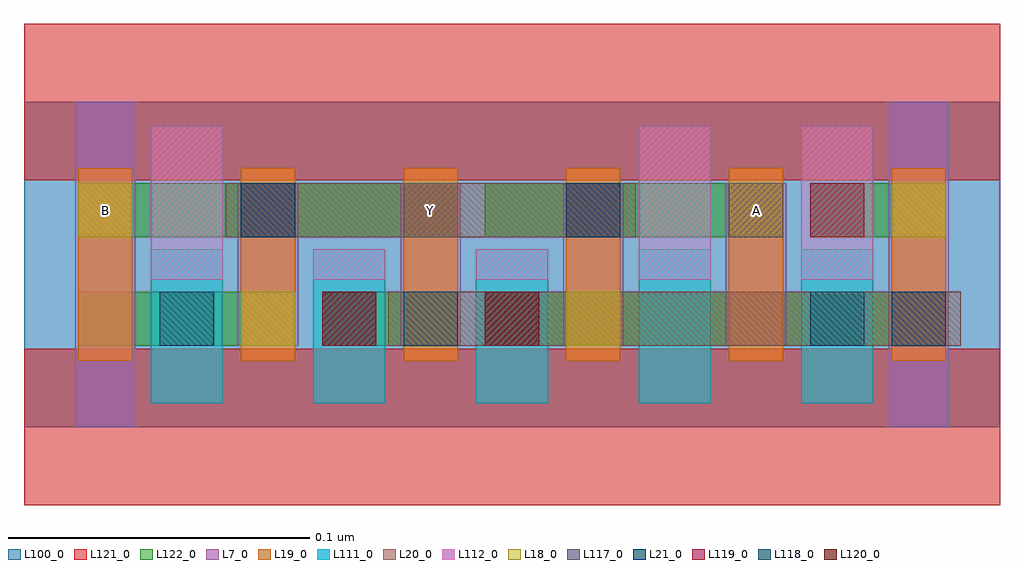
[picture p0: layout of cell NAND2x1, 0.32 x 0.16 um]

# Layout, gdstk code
import gdstk
lib = gdstk.Library(unit=1e-6, precision=2.5e-10)
def R(c, l, rs):  # rectangles x0, y0, x1, y1
    for r in rs: c.add(gdstk.rectangle(r[:2], r[2:], *l))
def A(c, l, x, y, w, h, nx, ny, dx, dy):  # array of equal rectangles
    R(c, l, [(x+i*dx, y+j*dy, x+i*dx+w, y+j*dy+h) for i in range(nx) for j in range(ny)])
L7_0 = (7, 0)
L18_0 = (18, 0)
L19_0 = (19, 0)
L20_0 = (20, 0)
L21_0 = (21, 0)
L100_0 = (100, 0)
L111_0 = (111, 0)
L112_0 = (112, 0)
L117_0 = (117, 0)
L118_0 = (118, 0)
L119_0 = (119, 0)
L120_0 = (120, 0)
L121_0 = (121, 0)
L122_0 = (122, 0)

nand2x1 = lib.new_cell('NAND2x1')
A(nand2x1, L7_0, 0.071, 0.027, 0.02, 0.054, 4, 1, 0.054, 0)
R(nand2x1, L7_0, [(0.017,0,0.037,0.108), (0.287,0,0.307,0.108)])
A(nand2x1, L18_0, 0.072, 0.027, 0.018, 0.018, 3, 1, 0.054, 0)
R(nand2x1, L18_0, [(0.018,0.063,0.036,0.081), (0.234,0.063,0.252,0.081), (0.288,0.063,0.306,0.081)])
A(nand2x1, L19_0, 0.018, 0.022, 0.018, 0.064, 6, 1, 0.054, 0)
R(nand2x1, L20_0, [(0.121,0.027,0.311,0.045), (0.067,0.063,0.203,0.081)])
R(nand2x1, L21_0, [(0.126,0.027,0.144,0.045), (0.288,0.027,0.306,0.045), (0.072,0.063,0.09,0.081), (0.18,0.063,0.198,0.081)])
R(nand2x1, L100_0, [(0,0,0.324,0.108)])
A(nand2x1, L111_0, 0.042, 0.008, 0.024, 0.051, 5, 1, 0.054, 0)
R(nand2x1, L112_0, [(0.042,0.049,0.066,0.1), (0.096,0.049,0.12,0.059), (0.15,0.049,0.174,0.059), (0.204,0.049,0.228,0.1), (0.258,0.049,0.282,0.1)])
A(nand2x1, L117_0, 0.072, 0.063, 0.018, 0.018, 4, 1, 0.054, 0)
R(nand2x1, L118_0, [(0.045,0.027,0.063,0.045), (0.261,0.027,0.279,0.045)])
R(nand2x1, L119_0, [(0.099,0.027,0.117,0.045), (0.153,0.027,0.171,0.045), (0.261,0.063,0.279,0.081)])
R(nand2x1, L120_0, [(0.099,0.027,0.117,0.045), (0.153,0.027,0.171,0.045)])
R(nand2x1, L121_0, [(0,-0.026,0.324,0.026), (0,0.082,0.324,0.134)])
R(nand2x1, L122_0, [(0.018,0.027,0.09,0.045), (0.099,0.027,0.144,0.045), (0.153,0.027,0.306,0.045), (0.018,0.063,0.144,0.081), (0.153,0.063,0.252,0.081), (0.261,0.063,0.306,0.081)])
nand2x1.add(gdstk.Label('Y', (0.135,0.072), layer=19, texttype=251))
nand2x1.add(gdstk.Label('B', (0.027,0.072), layer=19, texttype=251))
nand2x1.add(gdstk.Label('A', (0.243,0.072), layer=19, texttype=251))

lib.write_gds('NAND2x1.gds')
